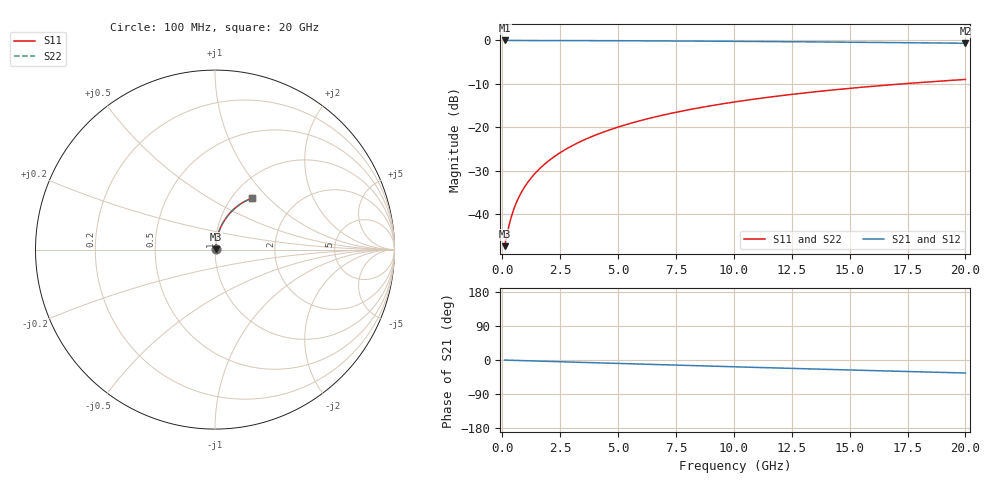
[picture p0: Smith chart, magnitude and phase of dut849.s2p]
! Touchstone file exported from HFSS 2026.1.0
!  File:  C:/ffzhzh/LocalFiles/Ansys_Project_Files/temp_train_TMRDL_849_1783156928_51560.aedt
!  Generated:  05:23:31 PM Jul  4, 2026
!  Design:  TMRDL
!  Project:  temp_train_TMRDL_849_1783156928_51560
! Variables:
!  h_bsmrdl = 2um
!  h_ox = 20um
!  h_rdl = 5um
!  h_sub = 80um
!  h_tmrdl = 2.41um
!  h_tsv = 80um
!  h_via = 3um
!  l_bsmrdl = 300um
!  l_sub = 856.18um
!  l_tmrdl = 456.18um
!  m_sub = 200um
!  pitch = 47.82um
!  r_tsv = 6um
!  s_tmrdl = 10um
!  w_bsmrdl = 18um
!  w_sub = 500um
!  w_tmrdl = 19.81um
!  x_tsv_center1 = 466.085um
!  x_tsv_center2 = 784.085um
!  x_tsv_center3 = 1260.075um
!  x_tsv_center4 = 1578.075um
!  x_tsv_center5 = 2054.065um
!  x_tsv_center6 = 2372.065um
# GHz S MA R 50.000000
! Terminal data exported
! Port[1] = TM_RDL1_1_T1
! Port[2] = TM_RDL1_1_T2
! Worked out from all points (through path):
!   200 points, 100 MHz to 20 GHz, reference 50 ohm
!   highest |S21| = -0.03 dB at 100 MHz (marker M1); lowest = -0.7 dB at 20 GHz (marker M2)
!   group delay of S21, straight-line fit = 4.78 ps
!   lowest |S11| = -47.4 dB at 100 MHz (marker M3), VSWR 1.01, Z = 50.4 + j0.22 ohm
!   |S11| at or under -10 dB: start of sweep to 17.35 GHz
!   |S22| runs from -47.4 to -9.0 dB; largest |S21 - S12| = 2.9e-15
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0.1  0.004262 30.8  0.9963 -0.2  0.9963 -0.2  0.004262 30.8
! Gamma 0 0 0 0
! Port Impedance 50 0 50 0
0.2  0.005742 49.1  0.9963 -0.4  0.9963 -0.4  0.005742 49.1
0.3  0.007548 58.9  0.9961 -0.6  0.9961 -0.6  0.007548 58.9
0.4  0.009461 64.6  0.996 -0.8  0.996 -0.8  0.009461 64.6
0.5  0.01141 68.2  0.9959 -0.9  0.9959 -0.9  0.01141 68.2
0.6  0.01336 70.7  0.9958 -1.1  0.9958 -1.1  0.01336 70.7
0.8  0.01727 74.0  0.9955 -1.5  0.9955 -1.5  0.01727 74.0
1.1  0.02315 76.7  0.9952 -2.0  0.9952 -2.0  0.02315 76.7
1.3  0.02708 77.8  0.9951 -2.4  0.9951 -2.4  0.02708 77.8
1.6  0.03301 78.9  0.9948 -2.9  0.9948 -2.9  0.03301 78.9
2.1  0.04292 79.7  0.9943 -3.8  0.9943 -3.8  0.04292 79.7
2.7  0.05484 79.9  0.9936 -4.9  0.9936 -4.9  0.05484 79.9
3.5  0.07071 79.5  0.9924 -6.4  0.9924 -6.4  0.07071 79.5
4.2  0.08453 78.8  0.9912 -7.6  0.9912 -7.6  0.08453 78.8
5  0.1002 77.8  0.9896 -9.1  0.9896 -9.1  0.1002 77.8
5.9  0.1177 76.6  0.9874 -10.7  0.9874 -10.7  0.1177 76.6
6.8  0.135 75.2  0.9849 -12.3  0.9849 -12.3  0.135 75.2
8.3  0.1633 72.8  0.9802 -15.0  0.9802 -15.0  0.1633 72.8
10.1  0.1963 69.9  0.9736 -18.1  0.9736 -18.1  0.1963 69.9
13.4  0.2536 64.5  0.9593 -23.7  0.9593 -23.7  0.2536 64.5
16.7  0.3064 59.2  0.943 -29.1  0.943 -29.1  0.3064 59.2
20  0.3545 54.1  0.9255 -34.3  0.9255 -34.3  0.3545 54.1
